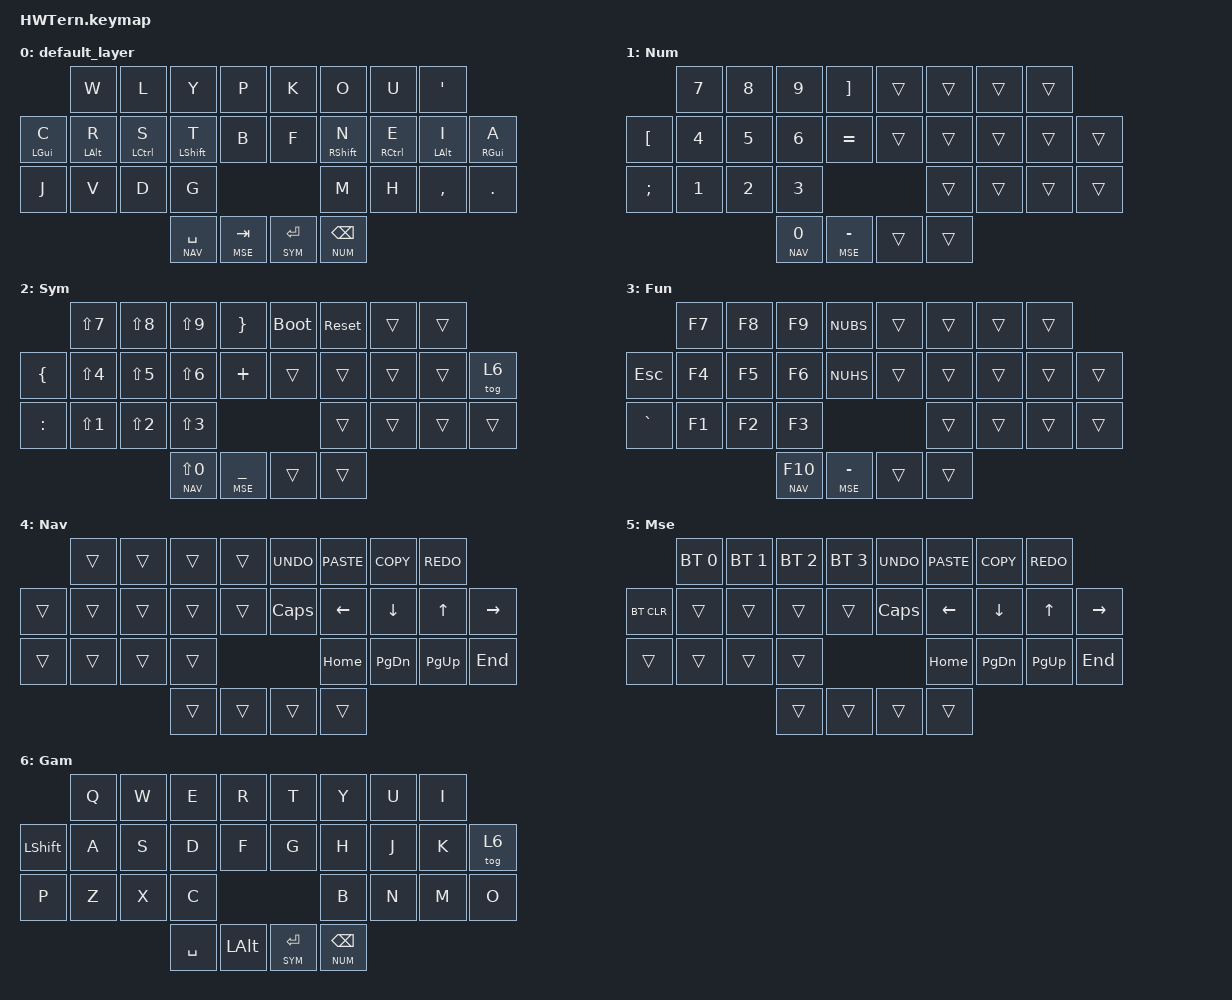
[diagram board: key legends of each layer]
#include <behaviors.dtsi>
#include <dt-bindings/zmk/keys.h>
#include <dt-bindings/zmk/bt.h>


// Layer List
#define DEF 0 //Default
#define NUM 1 //Number
#define SYM 2 //Symbol
#define FUN 3 //Function
#define NAV 4 //Navigation
#define MSE 5 //Mouse
#define GAM 6 //Gaming

/ {

    behaviors {
        hm: homerow_mods {
            compatible = "zmk,behavior-hold-tap";
            #binding-cells = <2>;
            tapping-term-ms = <225>;
            flavor = "tap-preferred";
            bindings = <&kp>, <&kp>;
        };
    };

    conditional_layers {
        compatible = "zmk,conditional-layers";
        fun_combo_layer {
            if-layers = <1 2>;
            then-layer = <3>;
        };
    };

    combos {
        compatible = "zmk,combos";
        combo_z {
            timeout-ms = <50>;
            key-positions = <20 21>;
            bindings = <&kp Z>;
        };
        combo_x {
            timeout-ms = <50>;
            key-positions = <21 22>;
            bindings = <&kp X>;
        };

        combo_q {
            timeout-ms = <50>;
            key-positions = <23 24>;
            bindings = <&kp Q>;
        };

        combo_slash {
            timeout-ms = <50>;
            key-positions = <24 25>;
            bindings = <&kp SLASH>;
        };
    };

    keymap {
        compatible = "zmk,keymap";

        default_layer {
            bindings = <
                           &kp W      &kp L       &kp Y           &kp P        &kp K        &kp O          &kp U       &kp APOS
                &hm LGUI C &hm LALT R &hm LCTRL S &hm LSHFT T     &kp B        &kp F        &hm RSHFT N    &hm RCTRL E &hm LALT I &hm RGUI A
                //&kp C   &kp R     &kp S      &kp T        &kp B      &kp F       &kp N         &kp E      &kp I     &kp A
                &kp J      &kp V      &kp D       &kp G                                     &kp M          &kp H       &kp COMMA  &kp DOT
                                                  &lt NAV SPACE &lt MSE TAB      &lt SYM ENTER  &lt NUM BSPC
                                                  //&kp SPACE &kp TAB      &kp ENTER  &kp BSPC
            >;
        };

        num_layer {
            display-name = "Num";
            bindings = <
                           &kp N7     &kp N8      &kp N9        &kp RBKT       &trans       &trans         &trans      &trans
                &kp LBKT   &kp N4     &kp N5      &kp N6        &kp EQUAL      &trans       &trans         &trans      &trans     &trans
                &kp SEMI   &kp N1     &kp N2      &kp N3                                    &trans         &trans      &trans     &trans
                                                  &lt NAV N0 &lt MSE MINUS     &trans       &trans
            >;
        };

        sym_layer {
            display-name = "Sym";
            bindings = <
                           &kp LS(N7)     &kp LS(N8)      &kp LS(N9)        &kp RBRC       &bootloader       &sys_reset         &trans      &trans
                &kp LBRC   &kp LS(N4)     &kp LS(N5)      &kp LS(N6)        &kp PLUS      &trans       &trans         &trans      &trans     &tog 6
                &kp COLON   &kp LS(N1)     &kp LS(N2)      &kp LS(N3)                                    &trans         &trans      &trans     &trans
                                                  &lt NAV LS(N0) &lt MSE UNDER     &trans       &trans
            >;
        };

        fun_layer {
            display-name = "Fun";
            bindings = <
                           &kp F7     &kp F8      &kp F9        &kp NUBS       &trans       &trans         &trans      &trans
                &kp ESC   &kp F4     &kp F5      &kp F6        &kp NUHS      &trans       &trans         &trans      &trans     &trans
                &kp GRAVE  &kp F1     &kp F2      &kp F3                                    &trans         &trans      &trans     &trans
                                                  &lt NAV F10 &lt MSE MINUS     &trans       &trans
            >;
        };

        nav_layer {
            display-name = "Nav";
            bindings = <
                             &trans       &trans      &trans     &trans        &kp K_UNDO     &kp K_PASTE      &kp K_COPY     &kp K_REDO
                &trans       &trans       &trans      &trans     &trans        &kp CAPS       &kp LEFT         &kp DOWN       &kp UP     &kp RIGHT
                &trans       &trans         &trans      &trans                             &kp HOME         &kp PG_DN      &kp PG_UP  &kp END
                                                  &trans       &trans            &trans       &trans
            >;
        };

        mse_layer { //TODO: Add mouse controls to config and mouse layer
            display-name = "Mse";
            bindings = <
                             &bt BT_SEL 0 &bt BT_SEL 1 &bt BT_SEL 2 &bt BT_SEL 3        &kp K_UNDO     &kp K_PASTE      &kp K_COPY     &kp K_REDO
                &bt BT_CLR   &trans       &trans      &trans     &trans                 &kp CAPS       &kp LEFT         &kp DOWN       &kp UP     &kp RIGHT
                &trans       &trans         &trans      &trans                             &kp HOME         &kp PG_DN      &kp PG_UP  &kp END
                                                  &trans       &trans               &trans       &trans
            >;
        };

        gam_layer {
            display-name = "Gam";
            bindings = <
                           &kp Q      &kp W       &kp E           &kp R        &kp T        &kp Y          &kp U       &kp I
                &kp LSHIFT &kp A      &kp S       &kp D           &kp F        &kp G        &kp H          &kp J       &kp K  &tog 6
                &kp P      &kp Z      &kp X       &kp C                                   &kp B          &kp N       &kp M  &kp O
                                                  &kp SPACE &kp LALT      &lt SYM ENTER  &lt NUM BSPC
            >;
        };
    };
};
